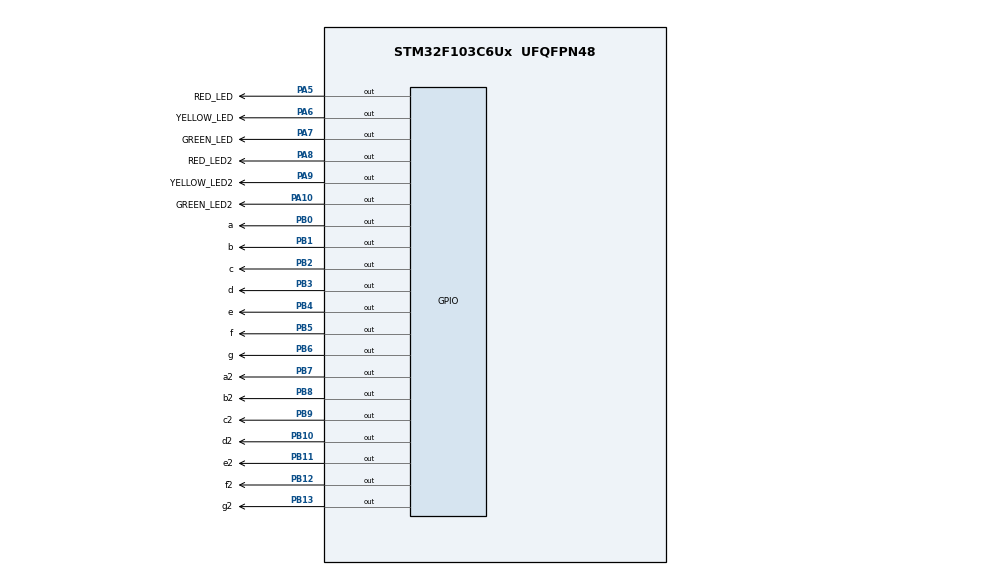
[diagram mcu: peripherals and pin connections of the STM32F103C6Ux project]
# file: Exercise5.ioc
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Mcu.Family=STM32F1
Mcu.Name=STM32F103C6Ux
Mcu.Package=UFQFPN48
NVIC.PriorityGroup=NVIC_PRIORITYGROUP_4
PA10.GPIO_Label=GREEN_LED2
PA10.Signal=GPIO_Output
PA5.GPIO_Label=RED_LED
PA5.Signal=GPIO_Output
PA6.GPIO_Label=YELLOW_LED
PA6.Signal=GPIO_Output
PA7.GPIO_Label=GREEN_LED
PA7.Signal=GPIO_Output
PA8.GPIO_Label=RED_LED2
PA8.Signal=GPIO_Output
PA9.GPIO_Label=YELLOW_LED2
PA9.Signal=GPIO_Output
PB0.GPIO_Label=a
PB0.Signal=GPIO_Output
PB1.GPIO_Label=b
PB1.Signal=GPIO_Output
PB10.GPIO_Label=d2
PB10.Signal=GPIO_Output
PB11.GPIO_Label=e2
PB11.Signal=GPIO_Output
PB12.GPIO_Label=f2
PB12.Signal=GPIO_Output
PB13.GPIO_Label=g2
PB13.Signal=GPIO_Output
PB2.GPIO_Label=c
PB2.Signal=GPIO_Output
PB3.GPIO_Label=d
PB3.Signal=GPIO_Output
PB4.GPIO_Label=e
PB4.Signal=GPIO_Output
PB5.GPIO_Label=f
PB5.Signal=GPIO_Output
PB6.GPIO_Label=g
PB6.Signal=GPIO_Output
PB7.GPIO_Label=a2
PB7.Signal=GPIO_Output
PB8.GPIO_Label=b2
PB8.Signal=GPIO_Output
PB9.GPIO_Label=c2
PB9.Signal=GPIO_Output
ProjectManager.HeapSize=0x200
ProjectManager.StackSize=0x400
ProjectManager.TargetToolchain=STM32CubeIDE
RCC.APB1Freq_Value=8000000
RCC.APB2Freq_Value=8000000
VP_SYS_VS_ND.Mode=No_Debug
board=custom

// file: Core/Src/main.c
/* USER CODE BEGIN Header */
/**
  ******************************************************************************
  * @file           : main.c
  * @brief          : Main program body
  ******************************************************************************
  * @attention
  *
  * <h2><center>&copy; Copyright (c) 2024 STMicroelectronics.
  * All rights reserved.</center></h2>
  *
  * This software component is licensed by ST under BSD 3-Clause license,
  * the "License"; You may not use this file except in compliance with the
  * License. You may obtain a copy of the License at:
  *                        opensource.org/licenses/BSD-3-Clause
  *
  ******************************************************************************
  */
/* USER CODE END Header */
#include "main.h"

void SystemClock_Config(void);
static void MX_GPIO_Init(void);
void display7SEG(int num);

int main(void)
{

  /* MCU Configuration--------------------------------------------------------*/

  /* Reset of all peripherals, Initializes the Flash interface and the Systick. */
  HAL_Init();

  /* Configure the system clock */
  SystemClock_Config();

  /* Initialize all configured peripherals */
  MX_GPIO_Init();
  /* USER CODE BEGIN 2 */
  HAL_GPIO_WritePin(RED_LED_GPIO_Port, RED_LED_Pin, GPIO_PIN_RESET);
  HAL_GPIO_WritePin(YELLOW_LED_GPIO_Port, YELLOW_LED_Pin, GPIO_PIN_RESET);
  HAL_GPIO_WritePin(GREEN_LED_GPIO_Port, GREEN_LED_Pin, GPIO_PIN_RESET);
  HAL_GPIO_WritePin(RED_LED2_GPIO_Port, RED_LED2_Pin, GPIO_PIN_RESET);
  HAL_GPIO_WritePin(YELLOW_LED2_GPIO_Port, YELLOW_LED2_Pin, GPIO_PIN_RESET);
  HAL_GPIO_WritePin(GREEN_LED2_GPIO_Port, GREEN_LED2_Pin, GPIO_PIN_RESET);

  HAL_GPIO_WritePin(a_GPIO_Port, a_Pin, GPIO_PIN_SET);
  HAL_GPIO_WritePin(b_GPIO_Port, b_Pin, GPIO_PIN_SET);
  HAL_GPIO_WritePin(c_GPIO_Port, c_Pin, GPIO_PIN_SET);
  HAL_GPIO_WritePin(d_GPIO_Port, d_Pin, GPIO_PIN_SET);
  HAL_GPIO_WritePin(e_GPIO_Port, e_Pin, GPIO_PIN_SET);
  HAL_GPIO_WritePin(f_GPIO_Port, f_Pin, GPIO_PIN_SET);
  HAL_GPIO_WritePin(g_GPIO_Port, g_Pin, GPIO_PIN_SET);

  HAL_GPIO_WritePin(a2_GPIO_Port, a2_Pin, GPIO_PIN_SET);
  HAL_GPIO_WritePin(b2_GPIO_Port, b2_Pin, GPIO_PIN_SET);
  HAL_GPIO_WritePin(c2_GPIO_Port, c2_Pin, GPIO_PIN_SET);
  HAL_GPIO_WritePin(d2_GPIO_Port, d2_Pin, GPIO_PIN_SET);
  HAL_GPIO_WritePin(e2_GPIO_Port, e2_Pin, GPIO_PIN_SET);
  HAL_GPIO_WritePin(f2_GPIO_Port, f2_Pin, GPIO_PIN_SET);
  HAL_GPIO_WritePin(g2_GPIO_Port, g2_Pin, GPIO_PIN_SET);
  /* USER CODE END 2 */

  /* Infinite loop */
  /* USER CODE BEGIN WHILE */
  int counter1 = 0;

  while (1)
  {
    /* USER CODE END WHILE */
	    counter1++;

		if (counter1 >= 0 && counter1 <= 5)
		{
			HAL_GPIO_WritePin(RED_LED_GPIO_Port, RED_LED_Pin, GPIO_PIN_SET);
			HAL_GPIO_WritePin(YELLOW_LED_GPIO_Port, YELLOW_LED_Pin, GPIO_PIN_RESET);
			HAL_GPIO_WritePin(GREEN_LED_GPIO_Port, GREEN_LED_Pin, GPIO_PIN_RESET);
		}
		else if (counter1 >= 5 && counter1 <= 8)
		{
			HAL_GPIO_WritePin(RED_LED_GPIO_Port, RED_LED_Pin, GPIO_PIN_RESET);
			HAL_GPIO_WritePin(YELLOW_LED_GPIO_Port, YELLOW_LED_Pin, GPIO_PIN_RESET);
			HAL_GPIO_WritePin(GREEN_LED_GPIO_Port, GREEN_LED_Pin, GPIO_PIN_SET);
		}
		else if (counter1 >= 8 && counter1 <= 10)
		{
			HAL_GPIO_WritePin(RED_LED_GPIO_Port, RED_LED_Pin, GPIO_PIN_RESET);
			HAL_GPIO_WritePin(YELLOW_LED_GPIO_Port, YELLOW_LED_Pin, GPIO_PIN_SET);
			HAL_GPIO_WritePin(GREEN_LED_GPIO_Port, GREEN_LED_Pin, GPIO_PIN_RESET);
		}

		if (counter1 >= 0 && counter1 <= 3)
		{
			HAL_GPIO_WritePin(RED_LED2_GPIO_Port, RED_LED2_Pin, GPIO_PIN_RESET);
			HAL_GPIO_WritePin(YELLOW_LED2_GPIO_Port, YELLOW_LED2_Pin, GPIO_PIN_RESET);
			HAL_GPIO_WritePin(GREEN_LED2_GPIO_Port, GREEN_LED2_Pin, GPIO_PIN_SET);
		}
		else if (counter1 >= 3 && counter1 <= 5)
		{
			HAL_GPIO_WritePin(RED_LED2_GPIO_Port, RED_LED2_Pin, GPIO_PIN_RESET);
			HAL_GPIO_WritePin(YELLOW_LED2_GPIO_Port, YELLOW_LED2_Pin, GPIO_PIN_SET);
			HAL_GPIO_WritePin(GREEN_LED2_GPIO_Port, GREEN_LED2_Pin, GPIO_PIN_RESET);
		}
		else if (counter1 >= 5 && counter1 <= 10)
		{
			HAL_GPIO_WritePin(RED_LED2_GPIO_Port, RED_LED2_Pin, GPIO_PIN_SET);
			HAL_GPIO_WritePin(YELLOW_LED2_GPIO_Port, YELLOW_LED2_Pin, GPIO_PIN_RESET);
			HAL_GPIO_WritePin(GREEN_LED2_GPIO_Port, GREEN_LED2_Pin, GPIO_PIN_RESET);
		}

		if (counter1 >= 10) counter1 = 0;
		HAL_Delay(1000);
		display7SEG(counter1);

  }
}
void display7SEG(int num)
{

    if (num == 0)//4
    {
        HAL_GPIO_WritePin(a_GPIO_Port, a_Pin, GPIO_PIN_SET);
        HAL_GPIO_WritePin(b_GPIO_Port, b_Pin, GPIO_PIN_RESET);
        HAL_GPIO_WritePin(c_GPIO_Port, c_Pin, GPIO_PIN_RESET);
        HAL_GPIO_WritePin(d_GPIO_Port, d_Pin, GPIO_PIN_SET);
        HAL_GPIO_WritePin(e_GPIO_Port, e_Pin, GPIO_PIN_SET);
        HAL_GPIO_WritePin(f_GPIO_Port, f_Pin, GPIO_PIN_RESET);
        HAL_GPIO_WritePin(g_GPIO_Port, g_Pin, GPIO_PIN_RESET);

        HAL_GPIO_WritePin(a2_GPIO_Port, a2_Pin, GPIO_PIN_RESET);
        HAL_GPIO_WritePin(b2_GPIO_Port, b2_Pin, GPIO_PIN_RESET);
        HAL_GPIO_WritePin(c2_GPIO_Port, c2_Pin, GPIO_PIN_SET);
        HAL_GPIO_WritePin(d2_GPIO_Port, d2_Pin, GPIO_PIN_RESET);
        HAL_GPIO_WritePin(e2_GPIO_Port, e2_Pin, GPIO_PIN_RESET);
        HAL_GPIO_WritePin(f2_GPIO_Port, f2_Pin, GPIO_PIN_SET);
        HAL_GPIO_WritePin(g2_GPIO_Port, g2_Pin, GPIO_PIN_RESET);
    }

    else if (num == 1)//3
    {
        HAL_GPIO_WritePin(a_GPIO_Port, a_Pin, GPIO_PIN_RESET);
        HAL_GPIO_WritePin(b_GPIO_Port, b_Pin, GPIO_PIN_RESET);
        HAL_GPIO_WritePin(c_GPIO_Port, c_Pin, GPIO_PIN_RESET);
        HAL_GPIO_WritePin(d_GPIO_Port, d_Pin, GPIO_PIN_RESET);
        HAL_GPIO_WritePin(e_GPIO_Port, e_Pin, GPIO_PIN_SET);
        HAL_GPIO_WritePin(f_GPIO_Port, f_Pin, GPIO_PIN_SET);
        HAL_GPIO_WritePin(g_GPIO_Port, g_Pin, GPIO_PIN_RESET);

        HAL_GPIO_WritePin(a2_GPIO_Port, a2_Pin, GPIO_PIN_SET);
        HAL_GPIO_WritePin(b2_GPIO_Port, b2_Pin, GPIO_PIN_RESET);
        HAL_GPIO_WritePin(c2_GPIO_Port, c2_Pin, GPIO_PIN_RESET);
        HAL_GPIO_WritePin(d2_GPIO_Port, d2_Pin, GPIO_PIN_SET);
        HAL_GPIO_WritePin(e2_GPIO_Port, e2_Pin, GPIO_PIN_SET);
        HAL_GPIO_WritePin(f2_GPIO_Port, f2_Pin, GPIO_PIN_SET);
        HAL_GPIO_WritePin(g2_GPIO_Port, g2_Pin, GPIO_PIN_SET);
    }

    else if (num == 2)//2
    {
        HAL_GPIO_WritePin(a_GPIO_Port, a_Pin, GPIO_PIN_RESET);
        HAL_GPIO_WritePin(b_GPIO_Port, b_Pin, GPIO_PIN_RESET);
        HAL_GPIO_WritePin(c_GPIO_Port, c_Pin, GPIO_PIN_SET);
        HAL_GPIO_WritePin(d_GPIO_Port, d_Pin, GPIO_PIN_RESET);
        HAL_GPIO_WritePin(e_GPIO_Port, e_Pin, GPIO_PIN_RESET);
        HAL_GPIO_WritePin(f_GPIO_Port, f_Pin, GPIO_PIN_SET);
        HAL_GPIO_WritePin(g_GPIO_Port, g_Pin, GPIO_PIN_RESET);

        HAL_GPIO_WritePin(a2_GPIO_Port, a2_Pin, GPIO_PIN_RESET);
        HAL_GPIO_WritePin(b2_GPIO_Port, b2_Pin, GPIO_PIN_RESET);
        HAL_GPIO_WritePin(c2_GPIO_Port, c2_Pin, GPIO_PIN_RESET);
        HAL_GPIO_WritePin(d2_GPIO_Port, d2_Pin, GPIO_PIN_RESET);
        HAL_GPIO_WritePin(e2_GPIO_Port, e2_Pin, GPIO_PIN_RESET);
        HAL_GPIO_WritePin(f2_GPIO_Port, f2_Pin, GPIO_PIN_RESET);
        HAL_GPIO_WritePin(g2_GPIO_Port, g2_Pin, GPIO_PIN_SET);
    }

    else if (num == 3)//1
    {
        HAL_GPIO_WritePin(a_GPIO_Port, a_Pin, GPIO_PIN_SET);
        HAL_GPIO_WritePin(b_GPIO_Port, b_Pin, GPIO_PIN_RESET);
        HAL_GPIO_WritePin(c_GPIO_Port, c_Pin, GPIO_PIN_RESET);
        HAL_GPIO_WritePin(d_GPIO_Port, d_Pin, GPIO_PIN_SET);
        HAL_GPIO_WritePin(e_GPIO_Port, e_Pin, GPIO_PIN_SET);
        HAL_GPIO_WritePin(f_GPIO_Port, f_Pin, GPIO_PIN_SET);
        HAL_GPIO_WritePin(g_GPIO_Port, g_Pin, GPIO_PIN_SET);

        HAL_GPIO_WritePin(a2_GPIO_Port, a2_Pin, GPIO_PIN_SET);
        HAL_GPIO_WritePin(b2_GPIO_Port, b2_Pin, GPIO_PIN_RESET);
        HAL_GPIO_WritePin(c2_GPIO_Port, c2_Pin, GPIO_PIN_RESET);
        HAL_GPIO_WritePin(d2_GPIO_Port, d2_Pin, GPIO_PIN_SET);
        HAL_GPIO_WritePin(e2_GPIO_Port, e2_Pin, GPIO_PIN_SET);
        HAL_GPIO_WritePin(f2_GPIO_Port, f2_Pin, GPIO_PIN_SET);
        HAL_GPIO_WritePin(g2_GPIO_Port, g2_Pin, GPIO_PIN_SET);
    }

    else if (num == 4)//0
    {
        HAL_GPIO_WritePin(a_GPIO_Port, a_Pin, GPIO_PIN_RESET);
        HAL_GPIO_WritePin(b_GPIO_Port, b_Pin, GPIO_PIN_RESET);
        HAL_GPIO_WritePin(c_GPIO_Port, c_Pin, GPIO_PIN_RESET);
        HAL_GPIO_WritePin(d_GPIO_Port, d_Pin, GPIO_PIN_RESET);
        HAL_GPIO_WritePin(e_GPIO_Port, e_Pin, GPIO_PIN_RESET);
        HAL_GPIO_WritePin(f_GPIO_Port, f_Pin, GPIO_PIN_RESET);
        HAL_GPIO_WritePin(g_GPIO_Port, g_Pin, GPIO_PIN_SET);

        HAL_GPIO_WritePin(a2_GPIO_Port, a2_Pin, GPIO_PIN_RESET);
        HAL_GPIO_WritePin(b2_GPIO_Port, b2_Pin, GPIO_PIN_RESET);
        HAL_GPIO_WritePin(c2_GPIO_Port, c2_Pin, GPIO_PIN_RESET);
        HAL_GPIO_WritePin(d2_GPIO_Port, d2_Pin, GPIO_PIN_RESET);
        HAL_GPIO_WritePin(e2_GPIO_Port, e2_Pin, GPIO_PIN_RESET);
        HAL_GPIO_WritePin(f2_GPIO_Port, f2_Pin, GPIO_PIN_RESET);
        HAL_GPIO_WritePin(g2_GPIO_Port, g2_Pin, GPIO_PIN_SET);
    }

    else if (num == 5)//2
    {
        HAL_GPIO_WritePin(a_GPIO_Port, a_Pin, GPIO_PIN_RESET);
        HAL_GPIO_WritePin(b_GPIO_Port, b_Pin, GPIO_PIN_RESET);
        HAL_GPIO_WritePin(c_GPIO_Port, c_Pin, GPIO_PIN_SET);
        HAL_GPIO_WritePin(d_GPIO_Port, d_Pin, GPIO_PIN_RESET);
        HAL_GPIO_WritePin(e_GPIO_Port, e_Pin, GPIO_PIN_RESET);
        HAL_GPIO_WritePin(f_GPIO_Port, f_Pin, GPIO_PIN_SET);
        HAL_GPIO_WritePin(g_GPIO_Port, g_Pin, GPIO_PIN_RESET);

        HAL_GPIO_WritePin(a2_GPIO_Port, a2_Pin, GPIO_PIN_SET);
        HAL_GPIO_WritePin(b2_GPIO_Port, b2_Pin, GPIO_PIN_RESET);
        HAL_GPIO_WritePin(c2_GPIO_Port, c2_Pin, GPIO_PIN_RESET);
        HAL_GPIO_WritePin(d2_GPIO_Port, d2_Pin, GPIO_PIN_SET);
        HAL_GPIO_WritePin(e2_GPIO_Port, e2_Pin, GPIO_PIN_SET);
        HAL_GPIO_WritePin(f2_GPIO_Port, f2_Pin, GPIO_PIN_RESET);
        HAL_GPIO_WritePin(g2_GPIO_Port, g2_Pin, GPIO_PIN_RESET);
    }

    else if (num == 6)//1
    {
        HAL_GPIO_WritePin(a_GPIO_Port, a_Pin, GPIO_PIN_SET);
        HAL_GPIO_WritePin(b_GPIO_Port, b_Pin, GPIO_PIN_RESET);
        HAL_GPIO_WritePin(c_GPIO_Port, c_Pin, GPIO_PIN_RESET);
        HAL_GPIO_WritePin(d_GPIO_Port, d_Pin, GPIO_PIN_SET);
        HAL_GPIO_WritePin(e_GPIO_Port, e_Pin, GPIO_PIN_SET);
        HAL_GPIO_WritePin(f_GPIO_Port, f_Pin, GPIO_PIN_SET);
        HAL_GPIO_WritePin(g_GPIO_Port, g_Pin, GPIO_PIN_SET);

        HAL_GPIO_WritePin(a2_GPIO_Port, a2_Pin, GPIO_PIN_RESET);
        HAL_GPIO_WritePin(b2_GPIO_Port, b2_Pin, GPIO_PIN_RESET);
        HAL_GPIO_WritePin(c2_GPIO_Port, c2_Pin, GPIO_PIN_RESET);
        HAL_GPIO_WritePin(d2_GPIO_Port, d2_Pin, GPIO_PIN_RESET);
        HAL_GPIO_WritePin(e2_GPIO_Port, e2_Pin, GPIO_PIN_SET);
        HAL_GPIO_WritePin(f2_GPIO_Port, f2_Pin, GPIO_PIN_SET);
        HAL_GPIO_WritePin(g2_GPIO_Port, g2_Pin, GPIO_PIN_RESET);
    }

    else if (num == 7)//0
    {
        HAL_GPIO_WritePin(a_GPIO_Port, a_Pin, GPIO_PIN_RESET);
        HAL_GPIO_WritePin(b_GPIO_Port, b_Pin, GPIO_PIN_RESET);
        HAL_GPIO_WritePin(c_GPIO_Port, c_Pin, GPIO_PIN_RESET);
        HAL_GPIO_WritePin(d_GPIO_Port, d_Pin, GPIO_PIN_RESET);
        HAL_GPIO_WritePin(e_GPIO_Port, e_Pin, GPIO_PIN_RESET);
        HAL_GPIO_WritePin(f_GPIO_Port, f_Pin, GPIO_PIN_RESET);
        HAL_GPIO_WritePin(g_GPIO_Port, g_Pin, GPIO_PIN_SET);

        HAL_GPIO_WritePin(a2_GPIO_Port, a2_Pin, GPIO_PIN_RESET);
        HAL_GPIO_WritePin(b2_GPIO_Port, b2_Pin, GPIO_PIN_RESET);
        HAL_GPIO_WritePin(c2_GPIO_Port, c2_Pin, GPIO_PIN_SET);
        HAL_GPIO_WritePin(d2_GPIO_Port, d2_Pin, GPIO_PIN_RESET);
        HAL_GPIO_WritePin(e2_GPIO_Port, e2_Pin, GPIO_PIN_RESET);
        HAL_GPIO_WritePin(f2_GPIO_Port, f2_Pin, GPIO_PIN_SET);
        HAL_GPIO_WritePin(g2_GPIO_Port, g2_Pin, GPIO_PIN_RESET);
    }

    else if (num == 8)//1
    {
        HAL_GPIO_WritePin(a_GPIO_Port, a_Pin, GPIO_PIN_SET);
        HAL_GPIO_WritePin(b_GPIO_Port, b_Pin, GPIO_PIN_RESET);
        HAL_GPIO_WritePin(c_GPIO_Port, c_Pin, GPIO_PIN_RESET);
        HAL_GPIO_WritePin(d_GPIO_Port, d_Pin, GPIO_PIN_SET);
        HAL_GPIO_WritePin(e_GPIO_Port, e_Pin, GPIO_PIN_SET);
        HAL_GPIO_WritePin(f_GPIO_Port, f_Pin, GPIO_PIN_SET);
        HAL_GPIO_WritePin(g_GPIO_Port, g_Pin, GPIO_PIN_SET);

        HAL_GPIO_WritePin(a2_GPIO_Port, a2_Pin, GPIO_PIN_SET);
        HAL_GPIO_WritePin(b2_GPIO_Port, b2_Pin, GPIO_PIN_RESET);
        HAL_GPIO_WritePin(c2_GPIO_Port, c2_Pin, GPIO_PIN_RESET);
        HAL_GPIO_WritePin(d2_GPIO_Port, d2_Pin, GPIO_PIN_SET);
        HAL_GPIO_WritePin(e2_GPIO_Port, e2_Pin, GPIO_PIN_SET);
        HAL_GPIO_WritePin(f2_GPIO_Port, f2_Pin, GPIO_PIN_SET);
        HAL_GPIO_WritePin(g2_GPIO_Port, g2_Pin, GPIO_PIN_SET);
    }
    else if (num == 9)//0
    {
        HAL_GPIO_WritePin(a_GPIO_Port, a_Pin, GPIO_PIN_RESET);
        HAL_GPIO_WritePin(b_GPIO_Port, b_Pin, GPIO_PIN_RESET);
        HAL_GPIO_WritePin(c_GPIO_Port, c_Pin, GPIO_PIN_RESET);
        HAL_GPIO_WritePin(d_GPIO_Port, d_Pin, GPIO_PIN_RESET);
        HAL_GPIO_WritePin(e_GPIO_Port, e_Pin, GPIO_PIN_RESET);
        HAL_GPIO_WritePin(f_GPIO_Port, f_Pin, GPIO_PIN_RESET);
        HAL_GPIO_WritePin(g_GPIO_Port, g_Pin, GPIO_PIN_SET);

        HAL_GPIO_WritePin(a2_GPIO_Port, a2_Pin, GPIO_PIN_RESET);
        HAL_GPIO_WritePin(b2_GPIO_Port, b2_Pin, GPIO_PIN_RESET);
        HAL_GPIO_WritePin(c2_GPIO_Port, c2_Pin, GPIO_PIN_RESET);
        HAL_GPIO_WritePin(d2_GPIO_Port, d2_Pin, GPIO_PIN_RESET);
        HAL_GPIO_WritePin(e2_GPIO_Port, e2_Pin, GPIO_PIN_RESET);
        HAL_GPIO_WritePin(f2_GPIO_Port, f2_Pin, GPIO_PIN_RESET);
        HAL_GPIO_WritePin(g2_GPIO_Port, g2_Pin, GPIO_PIN_SET);
    }
}
void SystemClock_Config(void)
{
  RCC_OscInitTypeDef RCC_OscInitStruct = {0};
  RCC_ClkInitTypeDef RCC_ClkInitStruct = {0};

  /** Initializes the RCC Oscillators according to the specified parameters
  * in the RCC_OscInitTypeDef structure.
  */
  RCC_OscInitStruct.OscillatorType = RCC_OSCILLATORTYPE_HSI;
  RCC_OscInitStruct.HSIState = RCC_HSI_ON;
  RCC_OscInitStruct.HSICalibrationValue = RCC_HSICALIBRATION_DEFAULT;
  RCC_OscInitStruct.PLL.PLLState = RCC_PLL_NONE;
  if (HAL_RCC_OscConfig(&RCC_OscInitStruct) != HAL_OK)
  {
    Error_Handler();
  }
  /** Initializes the CPU, AHB and APB buses clocks
  */
  RCC_ClkInitStruct.ClockType = RCC_CLOCKTYPE_HCLK|RCC_CLOCKTYPE_SYSCLK
                              |RCC_CLOCKTYPE_PCLK1|RCC_CLOCKTYPE_PCLK2;
  RCC_ClkInitStruct.SYSCLKSource = RCC_SYSCLKSOURCE_HSI;
  RCC_ClkInitStruct.AHBCLKDivider = RCC_SYSCLK_DIV1;
  RCC_ClkInitStruct.APB1CLKDivider = RCC_HCLK_DIV1;
  RCC_ClkInitStruct.APB2CLKDivider = RCC_HCLK_DIV1;

  if (HAL_RCC_ClockConfig(&RCC_ClkInitStruct, FLASH_LATENCY_0) != HAL_OK)
  {
    Error_Handler();
  }
}

static void MX_GPIO_Init(void)
{
  GPIO_InitTypeDef GPIO_InitStruct = {0};

  /* GPIO Ports Clock Enable */
  __HAL_RCC_GPIOA_CLK_ENABLE();
  __HAL_RCC_GPIOB_CLK_ENABLE();

  /*Configure GPIO pin Output Level */
  HAL_GPIO_WritePin(GPIOA, RED_LED_Pin|YELLOW_LED_Pin|GREEN_LED_Pin|RED_LED2_Pin
                          |YELLOW_LED2_Pin|GREEN_LED2_Pin, GPIO_PIN_RESET);

  /*Configure GPIO pin Output Level */
  HAL_GPIO_WritePin(GPIOB, a_Pin|b_Pin|c_Pin|d2_Pin
                          |e2_Pin|f2_Pin|g2_Pin|d_Pin
                          |e_Pin|f_Pin|g_Pin|a2_Pin
                          |b2_Pin|c2_Pin, GPIO_PIN_RESET);

  /*Configure GPIO pins : RED_LED_Pin YELLOW_LED_Pin GREEN_LED_Pin RED_LED2_Pin
                           YELLOW_LED2_Pin GREEN_LED2_Pin */
  GPIO_InitStruct.Pin = RED_LED_Pin|YELLOW_LED_Pin|GREEN_LED_Pin|RED_LED2_Pin
                          |YELLOW_LED2_Pin|GREEN_LED2_Pin;
  GPIO_InitStruct.Mode = GPIO_MODE_OUTPUT_PP;
  GPIO_InitStruct.Pull = GPIO_NOPULL;
  GPIO_InitStruct.Speed = GPIO_SPEED_FREQ_LOW;
  HAL_GPIO_Init(GPIOA, &GPIO_InitStruct);

  /*Configure GPIO pins : a_Pin b_Pin c_Pin d2_Pin
                           e2_Pin f2_Pin g2_Pin d_Pin
                           e_Pin f_Pin g_Pin a2_Pin
                           b2_Pin c2_Pin */
  GPIO_InitStruct.Pin = a_Pin|b_Pin|c_Pin|d2_Pin
                          |e2_Pin|f2_Pin|g2_Pin|d_Pin
                          |e_Pin|f_Pin|g_Pin|a2_Pin
                          |b2_Pin|c2_Pin;
  GPIO_InitStruct.Mode = GPIO_MODE_OUTPUT_PP;
  GPIO_InitStruct.Pull = GPIO_NOPULL;
  GPIO_InitStruct.Speed = GPIO_SPEED_FREQ_LOW;
  HAL_GPIO_Init(GPIOB, &GPIO_InitStruct);

}

void Error_Handler(void)
{
  __disable_irq();
  while (1)
  {
  }
}

/************************ (C) COPYRIGHT STMicroelectronics *****END OF FILE****/
